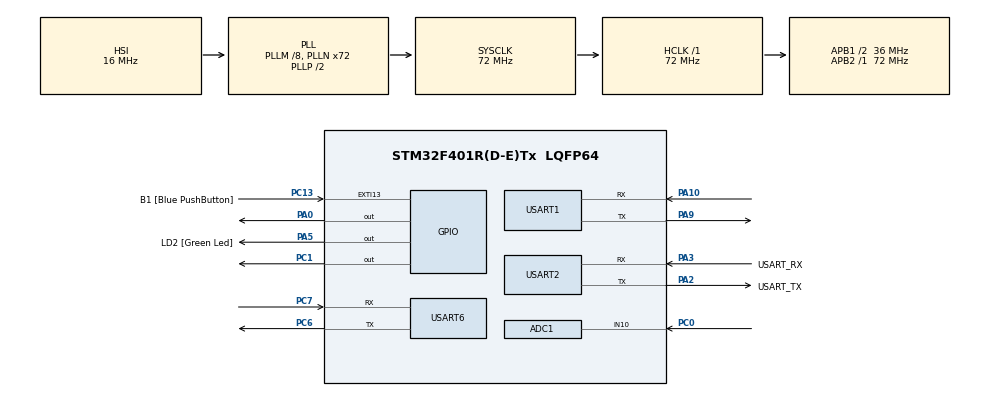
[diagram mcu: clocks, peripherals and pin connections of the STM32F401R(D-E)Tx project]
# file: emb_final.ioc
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ADC1.Channel-1\#ChannelRegularConversion=ADC_CHANNEL_10
ADC1.NbrOfConversionFlag=1
ADC1.Rank-1\#ChannelRegularConversion=1
ADC1.SamplingTime-1\#ChannelRegularConversion=ADC_SAMPLETIME_3CYCLES
ADC1.master=1
Mcu.Family=STM32F4
Mcu.Name=STM32F401R(D-E)Tx
Mcu.Package=LQFP64
NVIC.PriorityGroup=NVIC_PRIORITYGROUP_0
PA0-WKUP.Signal=GPIO_Output
PA10.Mode=Asynchronous
PA10.Signal=USART1_RX
PA13.GPIO_Label=TMS
PA13.Mode=Serial_Wire
PA13.Signal=SYS_JTMS-SWDIO
PA14.GPIO_Label=TCK
PA14.Mode=Serial_Wire
PA14.Signal=SYS_JTCK-SWCLK
PA2.GPIO_Label=USART_TX
PA2.GPIO_Mode=GPIO_MODE_AF_PP
PA2.GPIO_PuPd=GPIO_NOPULL
PA2.GPIO_Speed=GPIO_SPEED_FREQ_LOW
PA2.Mode=Asynchronous
PA2.Signal=USART2_TX
PA3.GPIO_Label=USART_RX
PA3.GPIO_Mode=GPIO_MODE_AF_PP
PA3.GPIO_PuPd=GPIO_NOPULL
PA3.GPIO_Speed=GPIO_SPEED_FREQ_LOW
PA3.Mode=Asynchronous
PA3.Signal=USART2_RX
PA5.GPIO_Label=LD2 [Green Led]
PA5.GPIO_Mode=GPIO_MODE_OUTPUT_PP
PA5.GPIO_PuPd=GPIO_NOPULL
PA5.GPIO_Speed=GPIO_SPEED_FREQ_LOW
PA5.Signal=GPIO_Output
PA9.Mode=Asynchronous
PA9.Signal=USART1_TX
PB3.GPIO_Label=SWO
PB3.Signal=SYS_JTDO-SWO
PC0.Signal=ADCx_IN10
PC1.Signal=GPIO_Output
PC13-ANTI_TAMP.GPIO_Label=B1 [Blue PushButton]
PC13-ANTI_TAMP.GPIO_ModeDefaultEXTI=GPIO_MODE_IT_FALLING
PC13-ANTI_TAMP.GPIO_PuPd=GPIO_NOPULL
PC13-ANTI_TAMP.Signal=GPXTI13
PC14-OSC32_IN.Signal=RCC_OSC32_IN
PC15-OSC32_OUT.Signal=RCC_OSC32_OUT
PC6.Mode=Asynchronous
PC6.Signal=USART6_TX
PC7.Mode=Asynchronous
PC7.Signal=USART6_RX
PH0\ -\ OSC_IN.Mode=HSE-External-Oscillator
PH0\ -\ OSC_IN.Signal=RCC_OSC_IN
PH1\ -\ OSC_OUT.Mode=HSE-External-Oscillator
PH1\ -\ OSC_OUT.Signal=RCC_OSC_OUT
ProjectManager.HeapSize=0x200
ProjectManager.StackSize=0x400
ProjectManager.TargetToolchain=STM32CubeIDE
RCC.48MHZClocksFreq_Value=20571428.57142857
RCC.AHBFreq_Value=72000000
RCC.APB1CLKDivider=RCC_HCLK_DIV2
RCC.APB1Freq_Value=36000000
RCC.APB1TimFreq_Value=72000000
RCC.APB2Freq_Value=72000000
RCC.APB2TimFreq_Value=72000000
RCC.CortexFreq_Value=72000000
RCC.HCLKFreq_Value=72000000
RCC.HSE_VALUE=8000000
RCC.HSI_VALUE=16000000
RCC.LSE_VALUE=32768
RCC.PLLM=8
RCC.PLLN=72
RCC.PLLQ=7
RCC.SYSCLKFreq_VALUE=72000000
RCC.SYSCLKSource=RCC_SYSCLKSOURCE_PLLCLK
RCC.VCOOutputFreq_Value=144000000
SH.ADCx_IN10.0=ADC1_IN10,IN10
TIM1.Prescaler=71
USART1.VirtualMode=VM_ASYNC
USART2.VirtualMode=VM_ASYNC
USART6.VirtualMode=VM_ASYNC
VP_TIM1_VS_ClockSourceINT.Mode=Internal
board=NUCLEO-F401RE

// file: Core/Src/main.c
/* USER CODE BEGIN Header */
/**
  ******************************************************************************
  * @file           : main.c
  * @brief          : Main program body
  ******************************************************************************
  * @attention
  *
  * Copyright (c) 2024 STMicroelectronics.
  * All rights reserved.
  *
  * This software is licensed under terms that can be found in the LICENSE file
  * in the root directory of this software component.
  * If no LICENSE file comes with this software, it is provided AS-IS.
  *
  ******************************************************************************
  */
/* USER CODE END Header */
#include "main.h"

/* USER CODE BEGIN Includes */
#include <stdlib.h>
#include <stdio.h>
#include <string.h>
/* USER CODE END Includes */

ADC_HandleTypeDef hadc1;

TIM_HandleTypeDef htim1;

UART_HandleTypeDef huart1;
UART_HandleTypeDef huart2;
UART_HandleTypeDef huart6;

void SystemClock_Config(void);
static void MX_GPIO_Init(void);
static void MX_USART2_UART_Init(void);
static void MX_USART1_UART_Init(void);
static void MX_USART6_UART_Init(void);
static void MX_TIM1_Init(void);
static void MX_ADC1_Init(void);

/* USER CODE BEGIN 0 */
#define DHT22_PORT GPIOA
#define DHT22_PIN GPIO_PIN_0
uint8_t RH1, RH2, TC1, TC2, SUM, CHECK;
uint32_t pMillis, cMillis;
float tCelsius = 0;
float tFahrenheit = 0;
float RH = 0;
//
uint16_t raw;
float calcVoltage;
float dustDensity;

void microDelay (uint16_t delay)
{
  __HAL_TIM_SET_COUNTER(&htim1, 0);
  while (__HAL_TIM_GET_COUNTER(&htim1) < delay);
}

uint8_t DHT22_Start (void)
{
  uint8_t Response = 0;
  GPIO_InitTypeDef GPIO_InitStructPrivate = {0};
  GPIO_InitStructPrivate.Pin = DHT22_PIN;
  GPIO_InitStructPrivate.Mode = GPIO_MODE_OUTPUT_PP;
  GPIO_InitStructPrivate.Speed = GPIO_SPEED_FREQ_LOW;
  GPIO_InitStructPrivate.Pull = GPIO_NOPULL;
  HAL_GPIO_Init(DHT22_PORT, &GPIO_InitStructPrivate); // set the pin as output
  HAL_GPIO_WritePin (DHT22_PORT, DHT22_PIN, 0);   // pull the pin low
  microDelay (1300);   // wait for 1300us
  HAL_GPIO_WritePin (DHT22_PORT, DHT22_PIN, 1);   // pull the pin high
  microDelay (30);   // wait for 30us
  GPIO_InitStructPrivate.Mode = GPIO_MODE_INPUT;
  GPIO_InitStructPrivate.Pull = GPIO_PULLUP;
  HAL_GPIO_Init(DHT22_PORT, &GPIO_InitStructPrivate); // set the pin as input
  microDelay (40);
  if (!(HAL_GPIO_ReadPin (DHT22_PORT, DHT22_PIN)))
  {
    microDelay (80);
    if ((HAL_GPIO_ReadPin (DHT22_PORT, DHT22_PIN))) Response = 1;
  }
  pMillis = HAL_GetTick();
  cMillis = HAL_GetTick();
  while ((HAL_GPIO_ReadPin (DHT22_PORT, DHT22_PIN)) && pMillis + 2 > cMillis)
  {
    cMillis = HAL_GetTick();
  }
  return Response;
}

uint8_t DHT22_Read (void)
{
  uint8_t a,b;
  for (a=0;a<8;a++)
  {
    pMillis = HAL_GetTick();
    cMillis = HAL_GetTick();
    while (!(HAL_GPIO_ReadPin (DHT22_PORT, DHT22_PIN)) && pMillis + 2 > cMillis)
    {  // wait for the pin to go high
      cMillis = HAL_GetTick();
    }
    microDelay (40);   // wait for 40 us
    if (!(HAL_GPIO_ReadPin (DHT22_PORT, DHT22_PIN)))   // if the pin is low
      b&= ~(1<<(7-a));
    else
      b|= (1<<(7-a));
    pMillis = HAL_GetTick();
    cMillis = HAL_GetTick();
    while ((HAL_GPIO_ReadPin (DHT22_PORT, DHT22_PIN)) && pMillis + 2 > cMillis)
    {  // wait for the pin to go low
      cMillis = HAL_GetTick();
    }
  }
  return b;
}
/* USER CODE END 0 */

int main(void)
{

  /* MCU Configuration--------------------------------------------------------*/

  /* Reset of all peripherals, Initializes the Flash interface and the Systick. */
  HAL_Init();

  /* Configure the system clock */
  SystemClock_Config();

  /* Initialize all configured peripherals */
  MX_GPIO_Init();
  MX_USART2_UART_Init();
  MX_USART1_UART_Init();
  MX_USART6_UART_Init();
  MX_TIM1_Init();
  MX_ADC1_Init();
  /* USER CODE BEGIN 2 */
  HAL_TIM_Base_Start(&htim1);
  /* USER CODE END 2 */

  /* Infinite loop */
  /* USER CODE BEGIN WHILE */

  //float dust = 1078.4, humidity = 45.8, temp = 134.5;

  while (1)
  {
	    if(DHT22_Start())
	    {
	      RH1 = DHT22_Read(); // First 8bits of humidity
	      RH2 = DHT22_Read(); // Second 8bits of Relative humidity
	      TC1 = DHT22_Read(); // First 8bits of Celsius
	      TC2 = DHT22_Read(); // Second 8bits of Celsius
	      SUM = DHT22_Read(); // Check sum
	      CHECK = RH1 + RH2 + TC1 + TC2;
	      if (CHECK == SUM)
	      {
	        if (TC1>127) // If TC1=10000000, negative temperature
	        {
	          tCelsius = (float)TC2/10*(-1);
	        }
	        else
	        {
	          tCelsius = (float)((TC1<<8)|TC2)/10;
	        }
	        tFahrenheit = tCelsius * 9/5 + 32;
	        RH = (float) ((RH1<<8)|RH2)/10;
	      }
	    }

    /* USER CODE END WHILE */

	  HAL_GPIO_WritePin(GPIOC, GPIO_PIN_1, GPIO_PIN_RESET);
	  //HAL_Delay(0.280);

	  HAL_ADC_Start(&hadc1);
	  if(HAL_ADC_PollForConversion(&hadc1, 1000) == HAL_OK){
		  raw = HAL_ADC_GetValue(&hadc1);
	  }
	  HAL_ADC_Stop(&hadc1);

	  //HAL_Delay(0.004);
	  HAL_GPIO_WritePin(GPIOC, GPIO_PIN_1, GPIO_PIN_SET);
	  //HAL_Delay(0.9680);

	  calcVoltage = (float) raw * (5.0 / 4096.0);
	  dustDensity = 170 * calcVoltage;

	  //Transmit
	  char buffer[50];
	  for (int i=0;i<50;i++){
		  buffer[i]='z';
	  }
	  sprintf(buffer, "{ %.1f ,%.1f, %.2f }x", RH, tCelsius, dustDensity);
	  HAL_UART_Transmit(&huart2, buffer, strlen(buffer), HAL_MAX_DELAY);
	  HAL_UART_Transmit(&huart1, buffer, strlen(buffer), HAL_MAX_DELAY);

	  HAL_Delay(1000);

  }
}

void SystemClock_Config(void)
{
  RCC_OscInitTypeDef RCC_OscInitStruct = {0};
  RCC_ClkInitTypeDef RCC_ClkInitStruct = {0};

  /** Configure the main internal regulator output voltage
  */
  __HAL_RCC_PWR_CLK_ENABLE();
  __HAL_PWR_VOLTAGESCALING_CONFIG(PWR_REGULATOR_VOLTAGE_SCALE2);

  /** Initializes the RCC Oscillators according to the specified parameters
  * in the RCC_OscInitTypeDef structure.
  */
  RCC_OscInitStruct.OscillatorType = RCC_OSCILLATORTYPE_HSI;
  RCC_OscInitStruct.HSIState = RCC_HSI_ON;
  RCC_OscInitStruct.HSICalibrationValue = RCC_HSICALIBRATION_DEFAULT;
  RCC_OscInitStruct.PLL.PLLState = RCC_PLL_ON;
  RCC_OscInitStruct.PLL.PLLSource = RCC_PLLSOURCE_HSI;
  RCC_OscInitStruct.PLL.PLLM = 8;
  RCC_OscInitStruct.PLL.PLLN = 72;
  RCC_OscInitStruct.PLL.PLLP = RCC_PLLP_DIV2;
  RCC_OscInitStruct.PLL.PLLQ = 7;
  if (HAL_RCC_OscConfig(&RCC_OscInitStruct) != HAL_OK)
  {
    Error_Handler();
  }

  /** Initializes the CPU, AHB and APB buses clocks
  */
  RCC_ClkInitStruct.ClockType = RCC_CLOCKTYPE_HCLK|RCC_CLOCKTYPE_SYSCLK
                              |RCC_CLOCKTYPE_PCLK1|RCC_CLOCKTYPE_PCLK2;
  RCC_ClkInitStruct.SYSCLKSource = RCC_SYSCLKSOURCE_PLLCLK;
  RCC_ClkInitStruct.AHBCLKDivider = RCC_SYSCLK_DIV1;
  RCC_ClkInitStruct.APB1CLKDivider = RCC_HCLK_DIV2;
  RCC_ClkInitStruct.APB2CLKDivider = RCC_HCLK_DIV1;

  if (HAL_RCC_ClockConfig(&RCC_ClkInitStruct, FLASH_LATENCY_2) != HAL_OK)
  {
    Error_Handler();
  }
}

static void MX_ADC1_Init(void)
{

  ADC_ChannelConfTypeDef sConfig = {0};

  /** Configure the global features of the ADC (Clock, Resolution, Data Alignment and number of conversion)
  */
  hadc1.Instance = ADC1;
  hadc1.Init.ClockPrescaler = ADC_CLOCK_SYNC_PCLK_DIV2;
  hadc1.Init.Resolution = ADC_RESOLUTION_12B;
  hadc1.Init.ScanConvMode = DISABLE;
  hadc1.Init.ContinuousConvMode = DISABLE;
  hadc1.Init.DiscontinuousConvMode = DISABLE;
  hadc1.Init.ExternalTrigConvEdge = ADC_EXTERNALTRIGCONVEDGE_NONE;
  hadc1.Init.ExternalTrigConv = ADC_SOFTWARE_START;
  hadc1.Init.DataAlign = ADC_DATAALIGN_RIGHT;
  hadc1.Init.NbrOfConversion = 1;
  hadc1.Init.DMAContinuousRequests = DISABLE;
  hadc1.Init.EOCSelection = ADC_EOC_SINGLE_CONV;
  if (HAL_ADC_Init(&hadc1) != HAL_OK)
  {
    Error_Handler();
  }

  /** Configure for the selected ADC regular channel its corresponding rank in the sequencer and its sample time.
  */
  sConfig.Channel = ADC_CHANNEL_10;
  sConfig.Rank = 1;
  sConfig.SamplingTime = ADC_SAMPLETIME_3CYCLES;
  if (HAL_ADC_ConfigChannel(&hadc1, &sConfig) != HAL_OK)
  {
    Error_Handler();
  }

}

static void MX_TIM1_Init(void)
{

  TIM_ClockConfigTypeDef sClockSourceConfig = {0};
  TIM_MasterConfigTypeDef sMasterConfig = {0};

  htim1.Instance = TIM1;
  htim1.Init.Prescaler = 71;
  htim1.Init.CounterMode = TIM_COUNTERMODE_UP;
  htim1.Init.Period = 65535;
  htim1.Init.ClockDivision = TIM_CLOCKDIVISION_DIV1;
  htim1.Init.RepetitionCounter = 0;
  htim1.Init.AutoReloadPreload = TIM_AUTORELOAD_PRELOAD_DISABLE;
  if (HAL_TIM_Base_Init(&htim1) != HAL_OK)
  {
    Error_Handler();
  }
  sClockSourceConfig.ClockSource = TIM_CLOCKSOURCE_INTERNAL;
  if (HAL_TIM_ConfigClockSource(&htim1, &sClockSourceConfig) != HAL_OK)
  {
    Error_Handler();
  }
  sMasterConfig.MasterOutputTrigger = TIM_TRGO_RESET;
  sMasterConfig.MasterSlaveMode = TIM_MASTERSLAVEMODE_DISABLE;
  if (HAL_TIMEx_MasterConfigSynchronization(&htim1, &sMasterConfig) != HAL_OK)
  {
    Error_Handler();
  }

}

static void MX_USART1_UART_Init(void)
{

  huart1.Instance = USART1;
  huart1.Init.BaudRate = 115200;
  huart1.Init.WordLength = UART_WORDLENGTH_8B;
  huart1.Init.StopBits = UART_STOPBITS_1;
  huart1.Init.Parity = UART_PARITY_NONE;
  huart1.Init.Mode = UART_MODE_TX_RX;
  huart1.Init.HwFlowCtl = UART_HWCONTROL_NONE;
  huart1.Init.OverSampling = UART_OVERSAMPLING_16;
  if (HAL_UART_Init(&huart1) != HAL_OK)
  {
    Error_Handler();
  }

}

static void MX_USART2_UART_Init(void)
{

  huart2.Instance = USART2;
  huart2.Init.BaudRate = 115200;
  huart2.Init.WordLength = UART_WORDLENGTH_8B;
  huart2.Init.StopBits = UART_STOPBITS_1;
  huart2.Init.Parity = UART_PARITY_NONE;
  huart2.Init.Mode = UART_MODE_TX_RX;
  huart2.Init.HwFlowCtl = UART_HWCONTROL_NONE;
  huart2.Init.OverSampling = UART_OVERSAMPLING_16;
  if (HAL_UART_Init(&huart2) != HAL_OK)
  {
    Error_Handler();
  }

}

static void MX_USART6_UART_Init(void)
{

  huart6.Instance = USART6;
  huart6.Init.BaudRate = 115200;
  huart6.Init.WordLength = UART_WORDLENGTH_8B;
  huart6.Init.StopBits = UART_STOPBITS_1;
  huart6.Init.Parity = UART_PARITY_NONE;
  huart6.Init.Mode = UART_MODE_TX_RX;
  huart6.Init.HwFlowCtl = UART_HWCONTROL_NONE;
  huart6.Init.OverSampling = UART_OVERSAMPLING_16;
  if (HAL_UART_Init(&huart6) != HAL_OK)
  {
    Error_Handler();
  }

}

static void MX_GPIO_Init(void)
{
  GPIO_InitTypeDef GPIO_InitStruct = {0};

  /* GPIO Ports Clock Enable */
  __HAL_RCC_GPIOC_CLK_ENABLE();
  __HAL_RCC_GPIOH_CLK_ENABLE();
  __HAL_RCC_GPIOA_CLK_ENABLE();
  __HAL_RCC_GPIOB_CLK_ENABLE();

  /*Configure GPIO pin Output Level */
  HAL_GPIO_WritePin(GPIOC, GPIO_PIN_1, GPIO_PIN_RESET);

  /*Configure GPIO pin Output Level */
  HAL_GPIO_WritePin(GPIOA, GPIO_PIN_0|LD2_Pin, GPIO_PIN_RESET);

  /*Configure GPIO pin : B1_Pin */
  GPIO_InitStruct.Pin = B1_Pin;
  GPIO_InitStruct.Mode = GPIO_MODE_IT_FALLING;
  GPIO_InitStruct.Pull = GPIO_NOPULL;
  HAL_GPIO_Init(B1_GPIO_Port, &GPIO_InitStruct);

  /*Configure GPIO pin : PC1 */
  GPIO_InitStruct.Pin = GPIO_PIN_1;
  GPIO_InitStruct.Mode = GPIO_MODE_OUTPUT_PP;
  GPIO_InitStruct.Pull = GPIO_NOPULL;
  GPIO_InitStruct.Speed = GPIO_SPEED_FREQ_LOW;
  HAL_GPIO_Init(GPIOC, &GPIO_InitStruct);

  /*Configure GPIO pins : PA0 LD2_Pin */
  GPIO_InitStruct.Pin = GPIO_PIN_0|LD2_Pin;
  GPIO_InitStruct.Mode = GPIO_MODE_OUTPUT_PP;
  GPIO_InitStruct.Pull = GPIO_NOPULL;
  GPIO_InitStruct.Speed = GPIO_SPEED_FREQ_LOW;
  HAL_GPIO_Init(GPIOA, &GPIO_InitStruct);

}

void Error_Handler(void)
{
  __disable_irq();
  while (1)
  {
  }
}
